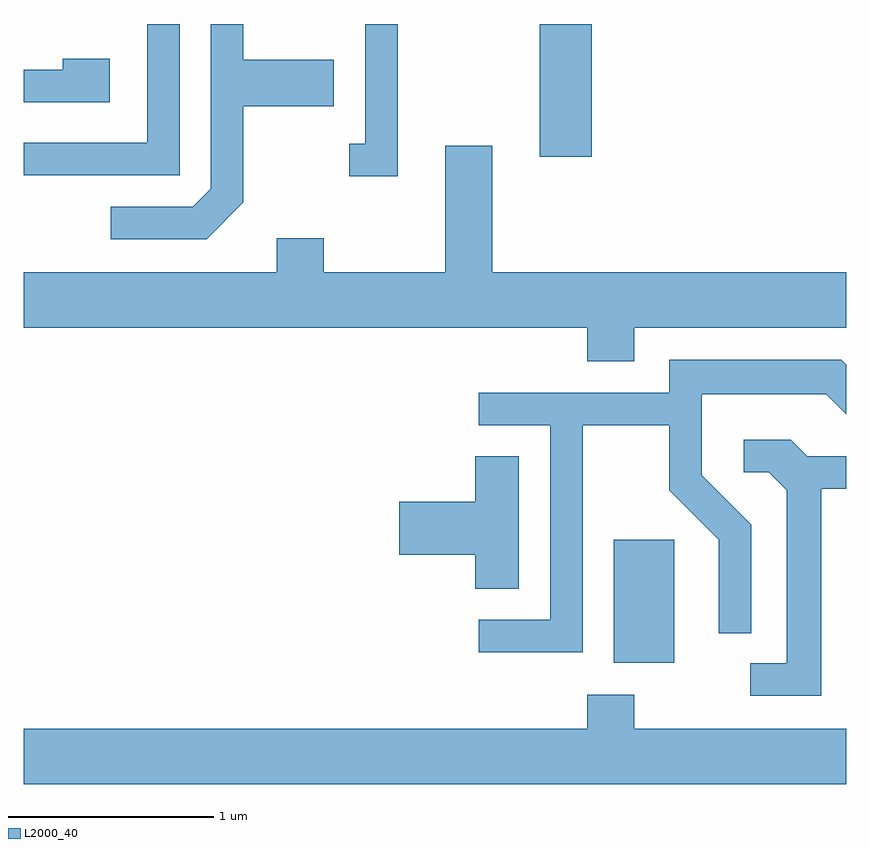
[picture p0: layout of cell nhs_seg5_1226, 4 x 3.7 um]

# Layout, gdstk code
import gdstk
lib = gdstk.Library(unit=1e-6, precision=1e-09)
def R(c, l, rs):  # rectangles x0, y0, x1, y1
    for r in rs: c.add(gdstk.rectangle(r[:2], r[2:], *l))
def P(c, l, *ps):  # polygons
    for p in ps: c.add(gdstk.Polygon(p, *l))
L2000_40 = (2000, 40)

nhs_seg5_1226 = lib.new_cell('nhs_seg5_1226')
R(nhs_seg5_1226, L2000_40, [(224.481,1432.966,224.774,1433.564), (224.121,1435.426,224.374,1436.072)])
P(nhs_seg5_1226, L2000_40, [(222.679,1435.204),(222.679,1435.671),(223.119,1435.671),(223.119,1435.899),(222.679,1435.899),(222.679,1436.072),(222.521,1436.072),(222.521,1435.272),(222.434,1435.184),(222.033,1435.184),(222.033,1435.026),(222.502,1435.026)],
  [(223.429,1436.072),(223.271,1436.072),(223.271,1435.489),(223.193,1435.489),(223.193,1435.331),(223.429,1435.331)],
  [(222.369,1436.072),(222.211,1436.072),(222.211,1435.494),(221.611,1435.494),(221.611,1435.336),(222.369,1435.336)],
  [(222.029,1435.904),(221.801,1435.904),(221.801,1435.849),(221.611,1435.849),(221.611,1435.691),(222.029,1435.691)],
  [(224.579,1434.596),(225.611,1434.596),(225.611,1434.864),(223.889,1434.864),(223.889,1435.479),(223.661,1435.479),(223.661,1434.864),(223.069,1434.864),(223.069,1435.029),(222.841,1435.029),(222.841,1434.864),(221.611,1434.864),(221.611,1434.596),(224.351,1434.596),(224.351,1434.431),(224.579,1434.431)],
  [(224.329,1434.121),(224.751,1434.121),(224.751,1433.804),(224.991,1433.564),(224.991,1433.108),(225.149,1433.108),(225.149,1433.637),(224.909,1433.877),(224.909,1434.271),(225.514,1434.271),(225.611,1434.174),(225.611,1434.415),(225.587,1434.439),(224.751,1434.439),(224.751,1434.279),(223.823,1434.279),(223.823,1434.121),(224.171,1434.121),(224.171,1433.174),(223.823,1433.174),(223.823,1433.016),(224.329,1433.016)],
  [(225.489,1433.811),(225.611,1433.811),(225.611,1433.969),(225.422,1433.969),(225.342,1434.049),(225.113,1434.049),(225.113,1433.891),(225.234,1433.891),(225.321,1433.804),(225.321,1432.964),(225.143,1432.964),(225.143,1432.806),(225.489,1432.806)],
  [(224.019,1433.969),(223.806,1433.969),(223.806,1433.749),(223.436,1433.749),(223.436,1433.491),(223.806,1433.491),(223.806,1433.326),(224.019,1433.326)],
  [(225.611,1432.644),(224.579,1432.644),(224.579,1432.809),(224.351,1432.809),(224.351,1432.644),(221.611,1432.644),(221.611,1432.376),(225.611,1432.376)])

lib.write_gds('nhs_seg5_1226.gds')
